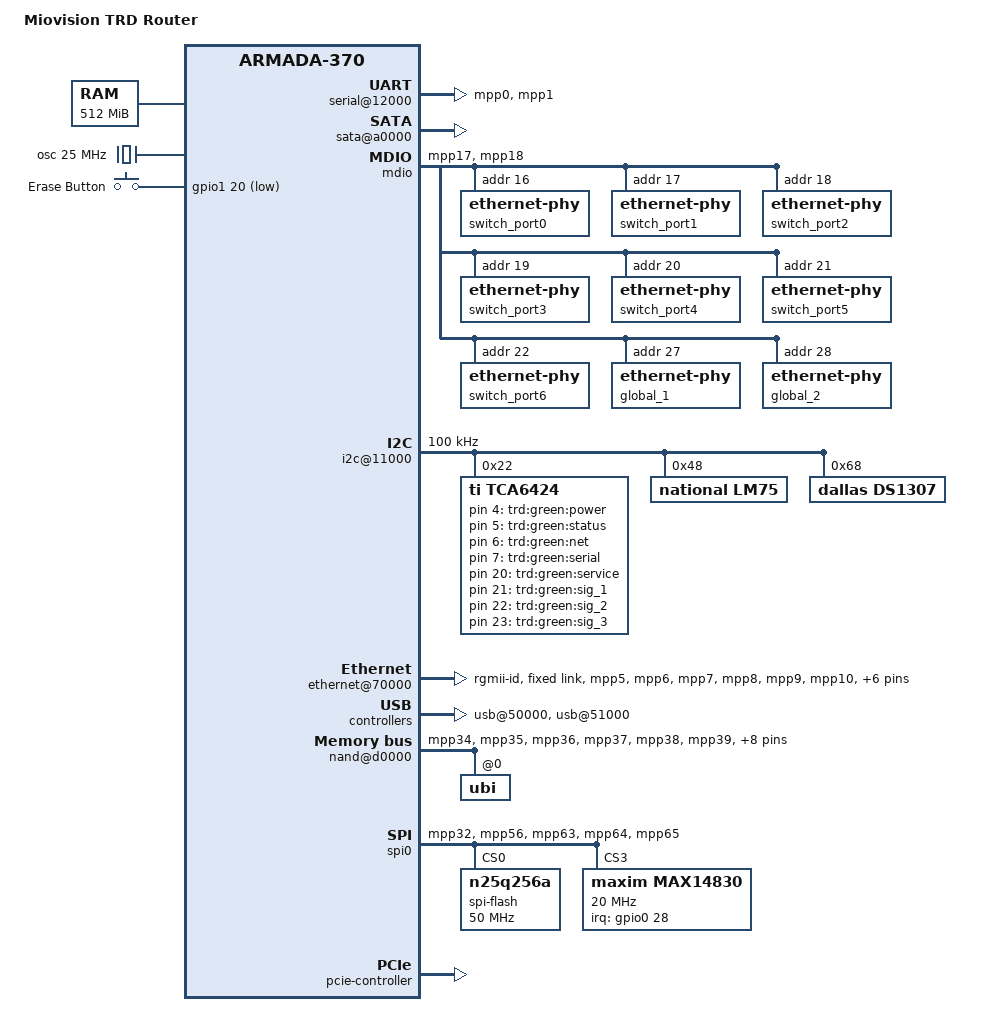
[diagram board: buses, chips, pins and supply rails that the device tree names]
/*
 * Device Tree file for Opengear ACM7000
 *
 * Ken Wilson <ken.wilson@opengear.com>
 *
 * This file is licensed under the terms of the GNU General Public
 * License version 2.  This program is licensed "as is" without any
 * warranty of any kind, whether express or implied.
 */

/dts-v1/;
/include/ "armada-370.dtsi"

/ {
	model = "Miovision TRD Router";
	compatible = "opengear,cm7000", "marvell,armada370", "marvell,armada-370-xp";

	chosen {
		bootargs = "console=ttyS0,115200 earlyprintk debug root=/dev/ram0";
	};

	memory {
		device_type = "memory";
		reg = <0x00000000 0x20000000>; /* 512 MB */
	};

	osc: oscillator {
		compatible = "fixed-clock";
		#clock-cells = <1>;
		clock-frequency = <25000000>;
		clock-output-names = "osc";
	};

	soc {
		internal-regs {
			serial@12000 {
				clock-frequency = <200000000>;
				status = "okay";

				pinctrl-0 = <&uart0_pins>;
				pinctrl-names = "default";
			};

			sata@a0000 {
				nr-ports = <1>;
				status = "okay";
			};

			timer@20300 {
				clock-frequency = <600000000>;
				status = "okay";
			};

			watchdog@20300 {
				compatible = "marvell,armada-370-wdt";
				reg = <0x20300 0x34>, <0x20704 0x4>;
				clocks = <&coreclk 2>;
				status = "okay";
			};

			pinctrl {
				/* UART Pins */
				uart0_pins: uart0-pins {
					marvell,pins = "mpp0", "mpp1";
					marvell,function = "uart0";
				};
				
				/* Ge0 Pins */
				ge0_pins: ge0-pins {
					marvell,pins = "mpp5", "mpp6", "mpp7", "mpp8",
							"mpp9", "mpp10", "mpp11", "mpp12",
							"mpp13", "mpp14", "mpp15", "mpp16";
					marvell,function = "ge0";
				};
				/* MDIO Pins */
				mdio_pins: mdio-pins { 
					marvell,pins = "mpp17", "mpp18";
					marvell,function = "ge";
				};
				/* SPI */
				spi_pins: spi-pins {
					marvell,pins = "mpp32", "mpp56", "mpp63", "mpp64", "mpp65";
					marvell,function = "spi0";
				};

				/* NAND */
				nand_pins: nand-pins {
					marvell,pins = "mpp34", "mpp35", "mpp36", "mpp37", "mpp38",
							"mpp39", "mpp40", "mpp41", "mpp42", "mpp43", 
							"mpp44", "mpp45", "mpp46", "mpp33";
					marvell,function = "dev";
				};

				erase_button_pin: erase-button-pin {	
					marvell,pins = "mpp52";
					marvell,function = "gpo";
				};
			
				dio_pins: dio-pins {
					marvell,pins = "mpp24", "mpp25", "mpp26", "mpp27", "mpp53", "mpp54", "mpp55", "mpp59";
					marvell,function = "gpio";
				};

				uart_int: uart-int {
					marvell,pins = "mpp28";
					marvell,function = "gpio";
				};

				reset_3v3_pin: reset-3v3-pin {	
					marvell,pins = "mpp61";
					marvell,function = "gpio";
				};
				
				wdt_tickle_pin: wdt-tickle-pin {	
					marvell,pins = "mpp4";
					marvell,function = "gpio";
				};
				
			};

			gpio_keys {
				compatible = "gpio-keys";
				#address-cells = <1>;
				#size-cells = <0>;
				button@0 {
					label = "Erase Button";
					linux,code = <84>; /* Delete */
					gpios = <&gpio1 20 1>;
				};
			};

			mdio {
				pinctrl-0 = <&mdio_pins>;
				pinctrl-names = "default";
				
				switch_port0: ethernet-phy@10 {
					reg = <0x10>;
				};
				switch_port1: ethernet-phy@11 {
					reg = <0x11>;
				};
				switch_port2: ethernet-phy@12 {
					reg = <0x12>;
				};
				switch_port3: ethernet-phy@13 {
					reg = <0x13>;
				};
				switch_port4: ethernet-phy@14 {
					reg = <0x14>;
				};
				switch_port5: ethernet-phy@15 {
					reg = <0x15>;
				};
				switch_port6: ethernet-phy@16 {
					reg = <0x16>;
				};
				global_1: ethernet-phy@1b {
					reg = <0x1b>;
				};
				global_2: ethernet-phy@1c {
					reg = <0x1c>;
				};
			
			};

			i2c@11000 {
				status = "okay";
				clock-frequency = <100000>;
			
				tca6424: gpio@22 {
					compatible = "ti,tca6424";
					reg = <0x22>;
					gpio-controller;
					#gpio-cells = <2>;
				};
				lm75: lm75@48 {
					compatible = "national,lm75";
					reg = <0x48>;
				};
				ds1307: ds1307@68 {
					compatible = "dallas,ds1307";
					reg = <0x68>;
				};
			};

			gpio_leds {
				compatible = "gpio-leds";

				green_power_led {
					label = "trd:green:power";
					gpios = <&tca6424 4 0>;
					default-state = "on";
				};

				green_hb_led {
					label = "trd:green:status";
					gpios = <&tca6424 5 0>;
					linux,default-trigger = "heartbeat";
				};

				green_net_led {
					label = "trd:green:net";
					gpios = <&tca6424 6 0>;
					linux,default-trigger = "net";
				};
				
				green_serial_led {
					label = "trd:green:serial";
					gpios = <&tca6424 7 0>;
					linux,default-trigger = "none";
				};
				
				green_service_led {
					label = "trd:green:service";
					gpios = <&tca6424 20 0>;
					linux,default-trigger = "none";
				};
				
				green_sig1_led {
					label = "trd:green:sig_1";
					gpios = <&tca6424 21 0>;
					default-state = "off";
				};
				
				green_sig_2_led {
					label = "trd:green:sig_2";
					gpios = <&tca6424 22 0>;
					default-state = "off";
				};
				
				green_sig_3_led {
					label = "trd:green:sig_3";
					gpios = <&tca6424 23 0>;
					default-state = "off";
				};
			};

			ethernet@70000 {
				status = "okay";
				pinctrl-0 = <&ge0_pins>;
				pinctrl-names = "default";
				phy-mode = "rgmii-id";
				fixed-link {
					speed = <1000>;
					full-duplex;
				};
				
			};

			usb@50000 {
				status = "okay";
			};

			usb@51000 {
				status = "okay";
			};
			
			nand@d0000 {
				status = "okay";
				pinctrl-0 = <&nand_pins>;
				pinctrl-names = "default";
				interrupts = <113>;

				ubi@0 {
					label = "ubi";
					reg = <0x00000000 0xFFE00000>;
				};
			};
			
			spi0: spi@10600 {
				status = "okay";
				pinctrl-0 = <&spi_pins>;
				pinctrl-names = "default";

				spi-flash@0 {
					#address-cells = <1>;
					#size-cells = <1>;
					compatible = "n25q256a";
					reg = <0>; /* Chip select 0 */
					spi-max-frequency = <50000000>;
					u-boot@0 {
						label = "u-boot";
						reg = <0x00000000 0x00100000>;
					};

					u-boot-config-block@100000 {
						label = "u-boot config block";
						reg = <0x00100000 0x00020000>;
					};

					factory-img@120000 {
						label = "factory_img";
						reg = <0x00120000 0x1400000>;
					};

					system-log@1520000 {
						label = "system_log";
						reg = <0x1520000 0x00200000>;
					};

					mtd-oops@1720000 {
						label = "mtd-oops";
						reg = <0x1720000 0x00080000>;
					};

					reserved@17A0000 {
						label = "reserved";
						reg = <0x17A0000 0x860000>;
					};

					all-spi@0 {
						label = "all-spi";
						reg = <0x0 0x2000000>;
					};

				};

				max14830: max14830@3 {
					pinctrl-0 = <&uart_int>;
					pinctrl-names = "default";
					compatible = "maxim,max14830";
					reg = <3>;
					spi-max-frequency = <20000000>;
					clocks = <&osc 0>;
					clock-names = "osc";
					interrupt-parent = <&gpio0>;
					interrupts = <28 0x2>;
					gpio-controller;
					#gpio-cells = <2>;
				};
			};

			pcie-controller {
				status = "okay";

				/* Internal mini-PCIe connector */
				pcie@1,0 {
					/* Port 0, Lane 0 */
					status = "okay";
				};

				/* Internal mini-PCIe connector */
				pcie@2,0 {
					/* Port 1, Lane 0 */
					status = "okay";
				};
			};
		};
	};
};
